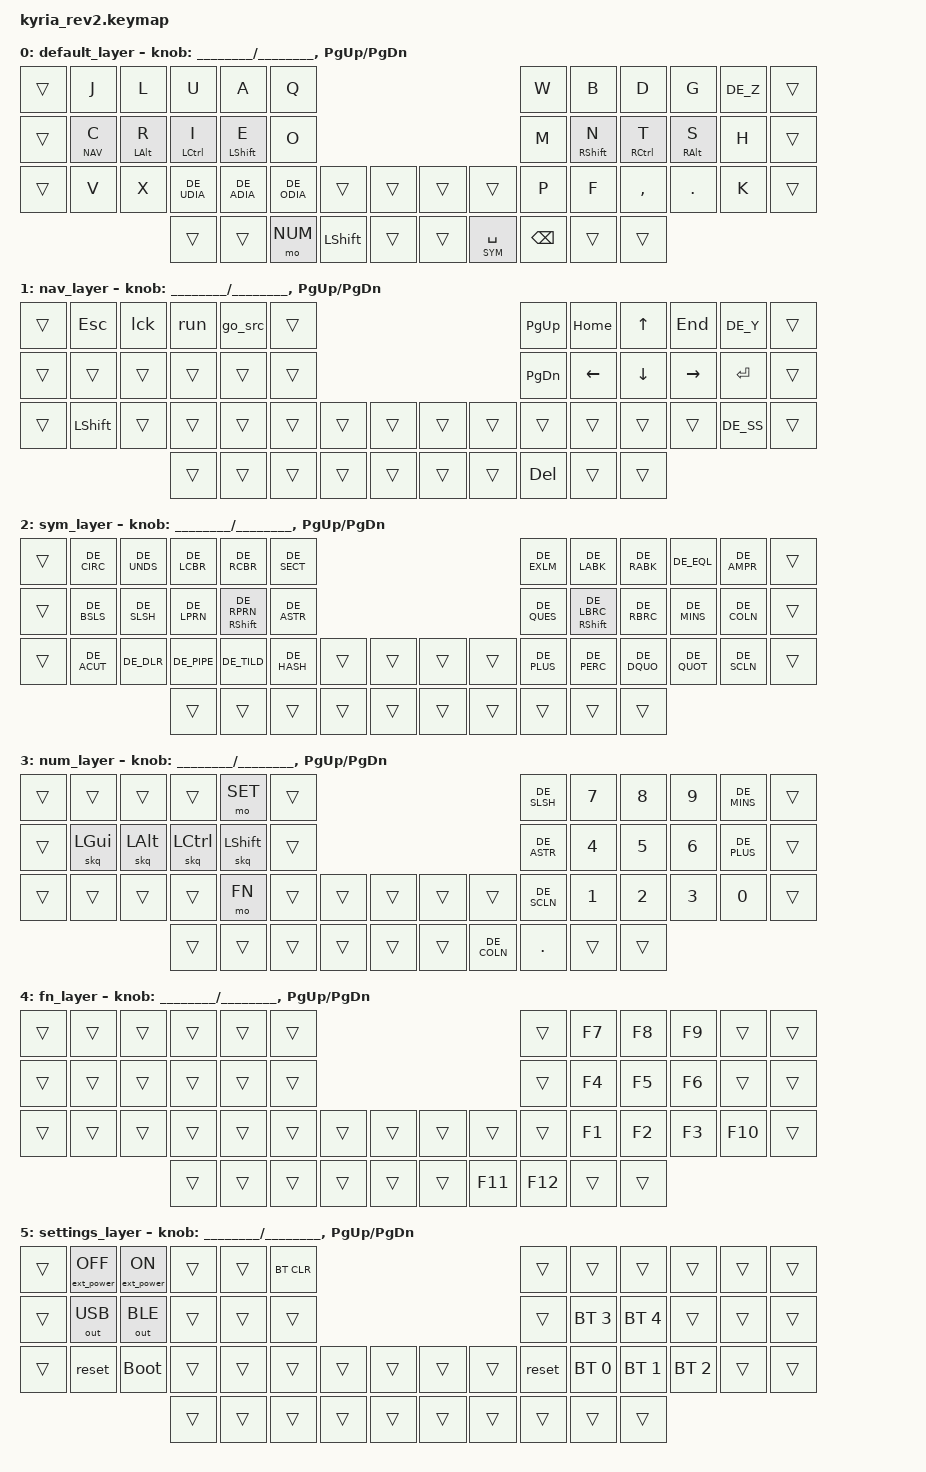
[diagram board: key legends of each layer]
/*
 * Copyright (c) 2020 The ZMK Contributors
 *
 * SPDX-License-Identifier: MIT
 */

#include <behaviors.dtsi>
#include <dt-bindings/zmk/keys.h>
#include <dt-bindings/zmk/bt.h>
#include <dt-bindings/zmk/ext_power.h>
#include <dt-bindings/zmk/outputs.h>
#include "keymap_german.h"

// Layers
#define DEFAULT 0
#define NAV     1
#define SYM     2
#define NUM     3
#define FN      4
#define SET     5

// Special shortcuts
#define ________   &trans
#define TODO       &trans
#define DEL_W      &kp LC(BSPC)
#define SPACE_SYM  &lt SYM SPACE
#define C_NAV      &lt NAV C

#define BT_1       &bt BT_SEL 0
#define BT_2       &bt BT_SEL 1
#define BT_3       &bt BT_SEL 2
#define BT_4       &bt BT_SEL 3
#define BT_5       &bt BT_SEL 4
#define BT_CLEAR   &bt BT_CLR

#define EXT_OFF   &ext_power EP_OFF
#define EXT_ON    &ext_power EP_ON

#define UG_TOG     &rgb_ug RGB_TOG
#define UG_NEXT    &rgb_ug RGB_EFF
#define UG_BRGHT   &rgb_ug RGB_BRI
#define UG_DARK    &rgb_ug RGB_BRD
#define UG_LILA    &rgb_ug RGB_COLOR_HSB(282, 100, 83)

// home row mod left
#define ALT_S &hm LALT S
#define ALT_R &hm LALT R
#define ALT_3 &hm LALT N3
#define CTL_D &hm LCTRL D
#define CTL_I &hm LCTRL I
#define CTL_4 &hm LCTRL N4
#define SFT_F &hm LSHIFT F
#define SFT_E &hm LSHIFT E
#define SFT_5 &hm LSHIFT N5

// home row mod right
#define SFT_8    &hm RSHIFT N8
#define SFT_J    &hm RSHIFT J
#define SFT_N    &hm RSHIFT N
#define SFT_LBRC &hm RSHIFT DE_LBRC
#define SFT_RPRN &hm RSHIFT DE_RPRN
#define CTL_K    &hm RCTRL K
#define CTL_T    &hm RCTRL T
#define CTL_9    &hm RCTRL N9
#define ALT_L    &hm RALT L
#define RALT_S   &hm RALT S
#define ALT_0    &hm RALT N0

/ {

    macros {
        ZMK_MACRO(go_src,
            wait-ms = <30>;
            tap-ms = <40>;
            bindings
                = <&macro_press   &kp LALT>
                , <&macro_tap     &kp F1>
                , <&macro_release &kp LALT>
                , <&macro_wait_time 2000>
                , <&macro_tap     &kp RET>
                ;
        )

        ZMK_MACRO(run,
            wait-ms = <30>;
            tap-ms = <40>;
            bindings
                = <&macro_press   &kp LALT>
                , <&macro_press   &kp LSHFT>
                , <&macro_tap     &kp F10>
                , <&macro_release &kp LSHFT>
                , <&macro_release &kp LALT>
                ;
        )

	    ZMK_MACRO(cad,
                wait-ms = <30>;
                tap-ms = <40>;
                bindings
                    = <&macro_press   &kp LCTL>
                    , <&macro_press   &kp LALT>
                    , <&macro_tap     &kp DEL>
                    , <&macro_release &kp LALT>
                    , <&macro_release &kp LCTL>
                    ;
            )

        ZMK_MACRO(lck,
                wait-ms = <30>;
                tap-ms = <40>;
                bindings
                    = <&macro_press   &kp LGUI>
                    , <&macro_tap     &kp L>
                    , <&macro_release &kp LGUI>
                    ;
        )
    };

    combos {
        compatible = "zmk,combos";

        combo_tab {
            timeout-ms = <50>;
            key-positions = <1 13>;
            bindings = <&kp TAB>;
        };

        combo_enter {
            timeout-ms = <50>;
            key-positions = <22 38>;
            bindings = <&kp RET>;
        };

        combo_win {
            timeout-ms = <50>;
            key-positions = <42 43>;
            bindings = <&kp LGUI>;
        };
    };

    behaviors {
        hm: homerow_mods {
                    compatible = "zmk,behavior-hold-tap";
                    label = "HOMEROW_MODS";
                    #binding-cells = <2>;
                    tapping-term-ms = <180>;
                    quick-tap-ms = <0>;
                    flavor = "tap-preferred";
                    bindings = <&kp>, <&kp>;
            };

        skq: sticky_key_quick_release {
                compatible = "zmk,behavior-sticky-key";
                label = "STICKY_KEY_QUICK_RELEASE";
                #binding-cells = <1>;
                bindings = <&kp>;
                release-after-ms = <3000>;
                quick-release;
             };
    };


    keymap {
        compatible = "zmk,keymap";

        default_layer {
            bindings = <
             ________  &kp J  &kp L  &kp U        &kp A        &kp Q                                                      &kp W     &kp B      &kp D      &kp G    &kp DE_Z     ________
             ________  C_NAV  ALT_R  CTL_I        SFT_E        &kp O                                                      &kp M     SFT_N      CTL_T      RALT_S   &kp H        ________
             ________  &kp V  &kp X  &kp DE_UDIA  &kp DE_ADIA  &kp DE_ODIA   ________  ________      ________  ________   &kp P     &kp F      &kp COMMA  &kp DOT  &kp K        ________
                                     ________     ________     &mo NUM       &kp LSHFT ________      ________  SPACE_SYM  &kp BSPC  ________  ________
             >;

                    sensor-bindings = <&inc_dec_kp ________ ________ &inc_dec_kp PG_UP PG_DN>;
        };


        nav_layer {
            bindings = <
            ________	&kp ESC   &lck       &run      &go_src   ________                                              &kp PG_UP  &kp HOME  &kp UP    &kp END    &kp DE_Y   ________
            ________	________  ________   ________  ________  ________                                              &kp PG_DN  &kp LEFT  &kp DOWN  &kp RIGHT  &kp RET    ________
            ________	&kp LSHFT ________   ________  ________  ________  ________  ________      ________  ________  ________   ________  ________  ________   &kp DE_SS  ________
            	                             ________  ________  ________  ________  ________      ________  ________  &kp DEL    ________  ________
   			>;
   			sensor-bindings = <&inc_dec_kp ________ ________ &inc_dec_kp PG_UP PG_DN>;
        };


        sym_layer {
        // --------------------------------------------------------------------------------------------------------
        // |  °  |  ^  |  _  |  {  |  }  |  @  |                             |  !  |  <  |  >  |  =  |  &  |  ²  |
        // |  €  |  \  |  /  |  (  |  )  |  *  |                             |  ?  |  [  |  ]  |  -  |  :  |  ³  |
        // |  §  |  `  |  $  |  |  |  ~  |  #  | --- | --- |     | --- | --- |  +  |  %  |  "  |  '  |  ;  |  µ  |
        //                   | --- | --- | --- | --- | --- |     | --- | --- | --- | --- | --- |
        	bindings = <
             ________   &kp DE_CIRC  &kp DE_UNDS  &kp DE_LCBR  &kp DE_RCBR  &kp DE_SECT                                             &kp DE_EXLM  &kp DE_LABK  &kp DE_RABK  &kp DE_EQL   &kp DE_AMPR  ________
             ________   &kp DE_BSLS  &kp DE_SLSH  &kp DE_LPRN  SFT_RPRN     &kp DE_ASTR                                             &kp DE_QUES  SFT_LBRC     &kp DE_RBRC  &kp DE_MINS  &kp DE_COLN  ________
             ________   &kp DE_ACUT  &kp DE_DLR   &kp DE_PIPE  &kp DE_TILD  &kp DE_HASH ________  ________      ________  ________  &kp DE_PLUS  &kp DE_PERC  &kp DE_DQUO  &kp DE_QUOT  &kp DE_SCLN  ________
        	                                      ________     ________     ________    ________  ________      ________  ________  ________     ________     ________
        	>;
        	sensor-bindings = <&inc_dec_kp ________ ________ &inc_dec_kp PG_UP PG_DN>;
        };


        num_layer {
            bindings = <
            ________  ________   ________   ________   &mo SET      ________                                                 &kp DE_SLSH  &kp N7  &kp N8  &kp N9  &kp DE_MINS  ________
            ________  &skq LGUI  &skq LALT  &skq LCTRL &skq LSHIFT  ________                                                 &kp DE_ASTR  &kp N4  &kp N5  &kp N6  &kp DE_PLUS  ________
            ________  ________   ________   ________   &mo FN       ________  ________  ________      ________  ________     &kp DE_SCLN  &kp N1  &kp N2  &kp N3  &kp N0       ________
                                            ________   ________     ________  ________  ________      ________  &kp DE_COLN  &kp DOT          ________  ________
            >;
            sensor-bindings = <&inc_dec_kp ________ ________ &inc_dec_kp PG_UP PG_DN>;
        };


        fn_layer {
            bindings = <
                ________  ________  ________  ________  ________  ________                                              ________  &kp F7    &kp F8    &kp F9  ________  ________
                ________  ________  ________  ________  ________  ________                                              ________  &kp F4    &kp F5    &kp F6  ________  ________
                ________  ________  ________  ________  ________  ________  ________  ________      ________  ________  ________  &kp F1    &kp F2    &kp F3  &kp F10   ________
                                              ________  ________  ________  ________  ________      ________  &kp F11   &kp F12   ________  ________
            >;
            sensor-bindings = <&inc_dec_kp ________ ________ &inc_dec_kp PG_UP PG_DN>;
        };


        settings_layer {
            bindings = <
              ________  EXT_OFF   EXT_ON             ________  ________  BT_CLEAR                                               ________  ________  ________  ________  ________  ________
              ________  &out OUT_USB  &out OUT_BLE   ________  ________  ________                                               ________  BT_4      BT_5      ________  ________  ________
              ________  &reset    &bootloader        ________  ________  ________ ________  ________        ________  ________  &reset    BT_1      BT_2      BT_3      ________  ________
                                            ________  ________  ________ ________  ________                 ________  ________  ________  ________  ________
            >;
            sensor-bindings = <&inc_dec_kp ________ ________ &inc_dec_kp PG_UP PG_DN>;
        };

     };
};
